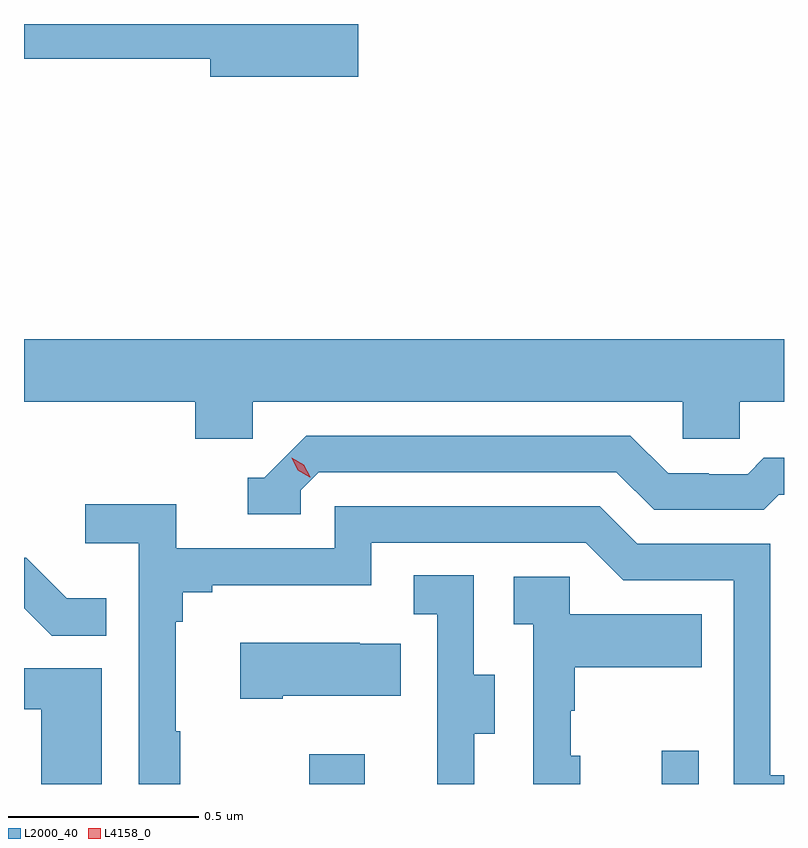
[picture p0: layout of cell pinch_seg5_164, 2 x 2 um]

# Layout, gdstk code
import gdstk
lib = gdstk.Library(unit=1e-6, precision=1e-09)
def R(c, l, rs):  # rectangles x0, y0, x1, y1
    for r in rs: c.add(gdstk.rectangle(r[:2], r[2:], *l))
def P(c, l, *ps):  # polygons
    for p in ps: c.add(gdstk.Polygon(p, *l))
L2000_40 = (2000, 40)
L4158_0 = (4158, 0)

pinch_seg5_164 = lib.new_cell('pinch_seg5_164')
R(pinch_seg5_164, L2000_40, [(1091.566,886.39,1091.713,886.468), (1092.494,886.39,1092.591,886.477)])
P(pinch_seg5_164, L2000_40, [(1091.695,888.39),(1090.816,888.39),(1090.816,888.298),(1091.306,888.298),(1091.306,888.251),(1091.695,888.251)],
  [(1091.418,887.396),(1092.549,887.396),(1092.549,887.298),(1092.699,887.298),(1092.699,887.396),(1092.816,887.396),(1092.816,887.56),(1090.816,887.56),(1090.816,887.396),(1091.267,887.396),(1091.267,887.298),(1091.418,887.298)],
  [(1091.544,887.163),(1091.592,887.211),(1092.375,887.211),(1092.474,887.112),(1092.763,887.112),(1092.802,887.151),(1092.816,887.151),(1092.816,887.248),(1092.763,887.248),(1092.721,887.205),(1092.618,887.205),(1092.618,887.208),(1092.511,887.208),(1092.412,887.307),(1091.559,887.307),(1091.448,887.196),(1091.405,887.196),(1091.405,887.1),(1091.544,887.1)],
  [(1091.227,886.529),(1091.215,886.529),(1091.215,886.817),(1091.234,886.817),(1091.234,886.894),(1091.311,886.894),(1091.311,886.913),(1091.73,886.913),(1091.73,887.025),(1092.294,887.025),(1092.393,886.926),(1092.684,886.926),(1092.684,886.39),(1092.816,886.39),(1092.816,886.413),(1092.78,886.413),(1092.78,887.022),(1092.43,887.022),(1092.331,887.121),(1091.634,887.121),(1091.634,887.01),(1091.216,887.01),(1091.216,887.126),(1090.977,887.126),(1090.977,887.024),(1091.118,887.024),(1091.118,886.39),(1091.227,886.39)],
  [(1091.033,886.879),(1090.929,886.879),(1090.822,886.986),(1090.816,886.986),(1090.816,886.853),(1090.889,886.78),(1091.033,886.78)],
  [(1092.001,886.522),(1092.055,886.522),(1092.055,886.677),(1092,886.677),(1092,886.94),(1091.841,886.94),(1091.841,886.837),(1091.904,886.837),(1091.904,886.533),(1091.903,886.533),(1091.903,886.39),(1092.001,886.39)],
  [(1092.28,886.464),(1092.255,886.464),(1092.255,886.583),(1092.265,886.583),(1092.265,886.697),(1092.599,886.697),(1092.599,886.837),(1092.252,886.837),(1092.252,886.935),(1092.105,886.935),(1092.105,886.811),(1092.156,886.811),(1092.156,886.39),(1092.28,886.39)],
  [(1091.497,886.622),(1091.807,886.622),(1091.807,886.759),(1091.699,886.759),(1091.699,886.762),(1091.385,886.762),(1091.385,886.615),(1091.497,886.615)],
  [(1091.02,886.695),(1090.816,886.695),(1090.816,886.587),(1090.862,886.587),(1090.862,886.39),(1091.02,886.39)])
P(pinch_seg5_164, L4158_0, [(1091.568,887.197),(1091.537,887.216),(1091.521,887.249),(1091.521,887.249),(1091.521,887.249),(1091.552,887.23),(1091.569,887.198),(1091.569,887.197)])

lib.write_gds('pinch_seg5_164.gds')
